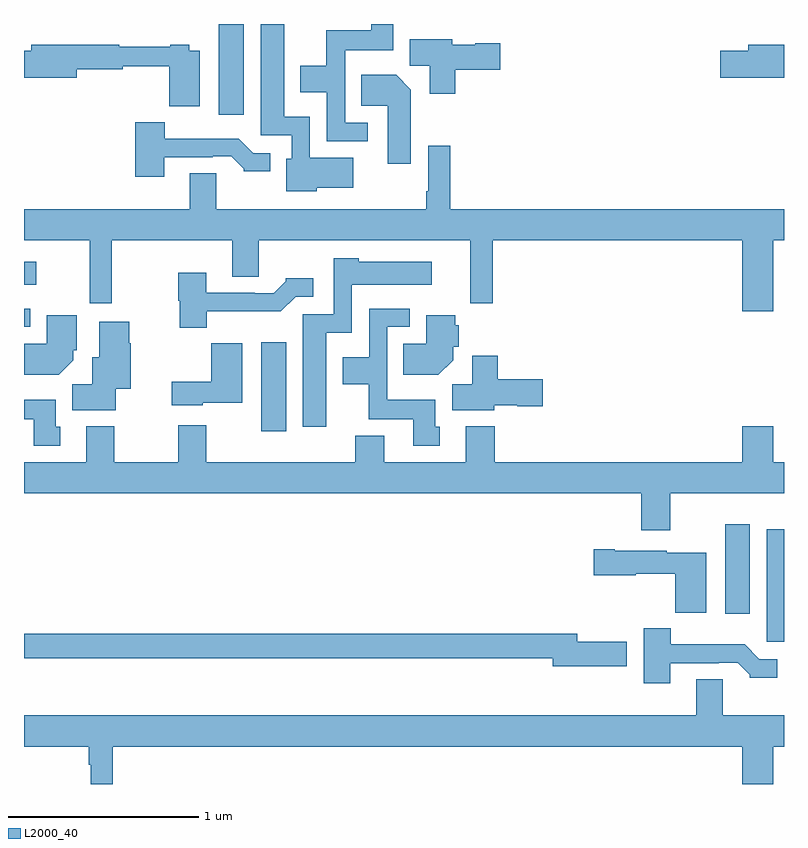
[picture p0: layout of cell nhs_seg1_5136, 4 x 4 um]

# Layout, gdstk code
import gdstk
lib = gdstk.Library(unit=1e-6, precision=1e-09)
def R(c, l, rs):  # rectangles x0, y0, x1, y1
    for r in rs: c.add(gdstk.rectangle(r[:2], r[2:], *l))
def P(c, l, *ps):  # polygons
    for p in ps: c.add(gdstk.Polygon(p, *l))
L2000_40 = (2000, 40)

nhs_seg1_5136 = lib.new_cell('nhs_seg1_5136')
R(nhs_seg1_5136, L2000_40, [(392.909,554.949,393,555.541), (392.69,555.096,392.821,555.565), (390.248,556.056,390.379,556.525), (389,556.605,389.032,556.701), (389,556.826,389.065,556.948), (390.026,557.721,390.157,558.199), (389.585,558.198,389.737,558.199)])
P(nhs_seg1_5136, L2000_40, [(390.808,557.679),(390.69,557.679),(390.69,558.062),(390.943,558.062),(390.943,558.199),(390.827,558.199),(390.827,558.166),(390.592,558.166),(390.592,557.98),(390.455,557.98),(390.455,557.84),(390.594,557.84),(390.594,557.583),(390.808,557.583)],
  [(390.54,557.336),(390.733,557.336),(390.733,557.494),(390.504,557.494),(390.504,557.71),(390.37,557.71),(390.37,558.199),(390.245,558.199),(390.245,557.613),(390.408,557.613),(390.408,557.49),(390.38,557.49),(390.38,557.318),(390.54,557.318)],
  [(391.271,557.957),(391.507,557.957),(391.507,558.099),(391.374,558.099),(391.374,558.091),(391.254,558.091),(391.254,558.118),(391.031,558.118),(391.031,557.98),(391.136,557.98),(391.136,557.832),(391.271,557.832)],
  [(389.926,558.058),(389.871,558.058),(389.871,558.091),(389.771,558.091),(389.771,558.078),(389.501,558.078),(389.501,558.091),(389.039,558.091),(389.039,558.057),(389,558.057),(389,557.915),(389.278,557.915),(389.278,557.962),(389.52,557.962),(389.52,557.977),(389.764,557.977),(389.764,557.765),(389.926,557.765)],
  [(393,558.091),(392.813,558.091),(392.813,558.057),(392.664,558.057),(392.664,557.915),(393,557.915)],
  [(391.036,557.854),(390.958,557.932),(390.775,557.932),(390.775,557.768),(390.914,557.768),(390.914,557.463),(391.036,557.463)],
  [(389.737,557.499),(389.993,557.499),(389.993,557.502),(390.092,557.502),(390.156,557.438),(390.156,557.423),(390.295,557.423),(390.295,557.52),(390.207,557.52),(390.131,557.596),(389.74,557.596),(389.74,557.683),(389.585,557.683),(389.585,557.394),(389.737,557.394)],
  [(392.944,557.06),(393,557.06),(393,557.224),(391.244,557.224),(391.244,557.557),(391.128,557.557),(391.128,557.32),(391.116,557.32),(391.116,557.224),(390.013,557.224),(390.013,557.414),(389.873,557.414),(389.873,557.224),(389,557.224),(389,557.06),(389.347,557.06),(389.347,556.728),(389.461,556.728),(389.461,557.06),(390.095,557.06),(390.095,556.87),(390.235,556.87),(390.235,557.06),(391.349,557.06),(391.349,556.728),(391.466,556.728),(391.466,557.06),(392.78,557.06),(392.78,556.686),(392.944,556.686)],
  [(390.592,556.574),(390.726,556.574),(390.726,556.826),(391.147,556.826),(391.147,556.948),(390.762,556.948),(390.762,556.966),(390.63,556.966),(390.63,556.671),(390.467,556.671),(390.467,556.08),(390.592,556.08)],
  [(389.962,556.686),(390.351,556.686),(390.429,556.764),(390.523,556.764),(390.523,556.861),(390.378,556.861),(390.378,556.846),(390.314,556.782),(390.215,556.782),(390.215,556.785),(389.959,556.785),(389.959,556.891),(389.812,556.891),(389.812,556.743),(389.819,556.743),(389.819,556.601),(389.962,556.601)],
  [(391.189,556.08),(391.165,556.08),(391.165,556.222),(390.912,556.222),(390.912,556.605),(391.03,556.605),(391.03,556.701),(390.816,556.701),(390.816,556.444),(390.677,556.444),(390.677,556.304),(390.814,556.304),(390.814,556.118),(391.049,556.118),(391.049,555.978),(391.189,555.978)],
  [(391.258,556.43),(391.258,556.5),(391.289,556.5),(391.289,556.614),(391.271,556.614),(391.271,556.666),(391.118,556.666),(391.118,556.516),(390.997,556.516),(390.997,556.352),(391.18,556.352)],
  [(389.26,556.43),(389.26,556.482),(389.278,556.482),(389.278,556.666),(389.12,556.666),(389.12,556.516),(389,556.516),(389,556.352),(389.182,556.352)],
  [(389.482,556.28),(389.562,556.28),(389.562,556.52),(389.554,556.52),(389.554,556.633),(389.396,556.633),(389.396,556.444),(389.36,556.444),(389.36,556.304),(389.255,556.304),(389.255,556.166),(389.482,556.166)],
  [(389.94,556.205),(390.148,556.205),(390.148,556.519),(389.986,556.519),(389.986,556.315),(389.778,556.315),(389.778,556.193),(389.94,556.193)],
  [(391.476,556.193),(391.596,556.193),(391.596,556.186),(391.729,556.186),(391.729,556.328),(391.493,556.328),(391.493,556.453),(391.358,556.453),(391.358,556.304),(391.253,556.304),(391.253,556.166),(391.476,556.166)],
  [(389.191,556.08),(389.167,556.08),(389.167,556.222),(389,556.222),(389,556.118),(389.051,556.118),(389.051,555.978),(389.191,555.978)],
  [(392.401,555.728),(393,555.728),(393,555.892),(392.944,555.892),(392.944,556.081),(392.78,556.081),(392.78,555.892),(391.478,555.892),(391.478,556.081),(391.325,556.081),(391.325,555.892),(390.895,555.892),(390.895,556.033),(390.743,556.033),(390.743,555.892),(389.959,555.892),(389.959,556.087),(389.812,556.087),(389.812,555.892),(389.475,555.892),(389.475,556.081),(389.327,556.081),(389.327,555.892),(389,555.892),(389,555.728),(392.249,555.728),(392.249,555.534),(392.401,555.534)],
  [(392.59,555.415),(392.382,555.415),(392.382,555.427),(392.11,555.427),(392.11,555.435),(391.998,555.435),(391.998,555.298),(392.22,555.298),(392.22,555.305),(392.428,555.305),(392.428,555.101),(392.59,555.101)],
  [(392.401,554.835),(392.657,554.835),(392.657,554.838),(392.756,554.838),(392.82,554.774),(392.82,554.759),(392.965,554.759),(392.965,554.856),(392.871,554.856),(392.793,554.935),(392.404,554.935),(392.404,555.019),(392.261,555.019),(392.261,554.73),(392.401,554.73)],
  [(392.173,554.949),(391.912,554.949),(391.912,554.99),(389,554.99),(389,554.862),(391.784,554.862),(391.784,554.819),(392.173,554.819)],
  [(389.468,554.396),(392.78,554.396),(392.78,554.199),(392.944,554.199),(392.944,554.396),(393,554.396),(393,554.56),(392.677,554.56),(392.677,554.75),(392.537,554.75),(392.537,554.56),(389,554.56),(389,554.396),(389.34,554.396),(389.34,554.3),(389.352,554.3),(389.352,554.199),(389.468,554.199)])

lib.write_gds('nhs_seg1_5136.gds')
